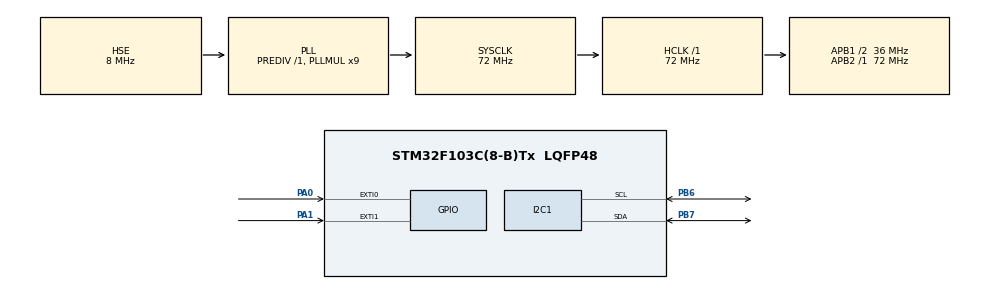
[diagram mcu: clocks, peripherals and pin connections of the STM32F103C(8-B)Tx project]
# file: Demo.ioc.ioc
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Mcu.Family=STM32F1
Mcu.Name=STM32F103C(8-B)Tx
Mcu.Package=LQFP48
NVIC.EXTI0_IRQn=true\:0\:0\:false\:false\:true\:true\:true\:true
NVIC.EXTI1_IRQn=true\:0\:0\:false\:false\:true\:true\:true\:true
NVIC.PriorityGroup=NVIC_PRIORITYGROUP_4
PA0-WKUP.GPIO_PuPd=GPIO_PULLUP
PA0-WKUP.Signal=GPXTI0
PA1.GPIO_PuPd=GPIO_PULLUP
PA1.Signal=GPXTI1
PA13.Mode=Serial_Wire
PA13.Signal=SYS_JTMS-SWDIO
PA14.Mode=Serial_Wire
PA14.Signal=SYS_JTCK-SWCLK
PB6.Mode=I2C
PB6.Signal=I2C1_SCL
PB7.Mode=I2C
PB7.Signal=I2C1_SDA
PD0-OSC_IN.Mode=HSE-External-Oscillator
PD0-OSC_IN.Signal=RCC_OSC_IN
PD1-OSC_OUT.Mode=HSE-External-Oscillator
PD1-OSC_OUT.Signal=RCC_OSC_OUT
ProjectManager.HeapSize=0x200
ProjectManager.StackSize=0x400
ProjectManager.TargetToolchain=MDK-ARM V5.32
RCC.AHBFreq_Value=72000000
RCC.APB1CLKDivider=RCC_HCLK_DIV2
RCC.APB1Freq_Value=36000000
RCC.APB1TimFreq_Value=72000000
RCC.APB2Freq_Value=72000000
RCC.APB2TimFreq_Value=72000000
RCC.HCLKFreq_Value=72000000
RCC.PLLMUL=RCC_PLL_MUL9
RCC.PLLSourceVirtual=RCC_PLLSOURCE_HSE
RCC.SYSCLKFreq_VALUE=72000000
RCC.SYSCLKSource=RCC_SYSCLKSOURCE_PLLCLK
RCC.USBFreq_Value=72000000
board=custom

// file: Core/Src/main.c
/* USER CODE BEGIN Header */
/**
  ******************************************************************************
  * @file           : main.c
  * @brief          : Main program body
  ******************************************************************************
  * @attention
  *
  * Copyright (c) 2025 STMicroelectronics.
  * All rights reserved.
  *
  * This software is licensed under terms that can be found in the LICENSE file
  * in the root directory of this software component.
  * If no LICENSE file comes with this software, it is provided AS-IS.
  *
  ******************************************************************************
  */
/* USER CODE END Header */
#include "main.h"

/* USER CODE BEGIN Includes */
#include "ssd1306.h"
#include "ssd1306_fonts.h"
#include <stdio.h> // 用于 sprintf
/* USER CODE END Includes */

I2C_HandleTypeDef hi2c1;

/* USER CODE BEGIN PV */
// 定义一个计数值，volatile关键字防止编译器优化
volatile int32_t counter = 0;
/* USER CODE END PV */

void SystemClock_Config(void);
static void MX_GPIO_Init(void);
static void MX_I2C1_Init(void);

int main(void)
{

  /* MCU Configuration--------------------------------------------------------*/

  /* Reset of all peripherals, Initializes the Flash interface and the Systick. */
  HAL_Init();

  /* Configure the system clock */
  SystemClock_Config();

  /* Initialize all configured peripherals */
  MX_GPIO_Init();
  MX_I2C1_Init();
  /* USER CODE BEGIN 2 */
	ssd1306_Init(); // 初始化OLED

	ssd1306_Fill(Black); // 清屏
	ssd1306_SetCursor(0, 0); // 设置光标位置
	ssd1306_WriteString("Encoder Test", Font_7x10, White);
	ssd1306_SetCursor(0, 20);
	ssd1306_WriteString("Value:", Font_11x18, White);
	ssd1306_UpdateScreen(); // 更新显示
	HAL_Delay(1000);
  /* USER CODE END 2 */

  /* Infinite loop */
  while (1)
  {
    /* USER CODE BEGIN 3 */

    // 定义一个缓冲区来存储要显示的字符串
    char buffer[20];

    // 将整数 counter 转换为字符串
    sprintf(buffer, "%ld", counter); // %ld 用于 long int

    // 在显示之前，先用黑色矩形覆盖旧数值区域，防止数字重叠
    ssd1306_FillRectangle(60, 20, 127, 38, Black);

    // 设置光标位置并显示新数值
    ssd1306_SetCursor(60, 20);
    ssd1306_WriteString(buffer, Font_11x18, White);

    // 将缓冲区内容更新到屏幕上
    ssd1306_UpdateScreen();

    // 短暂延时，降低CPU占用率，也避免刷新过快
    HAL_Delay(50);
  }
  /* USER CODE END 3 */
}

void SystemClock_Config(void)
{
  RCC_OscInitTypeDef RCC_OscInitStruct = {0};
  RCC_ClkInitTypeDef RCC_ClkInitStruct = {0};

  /** Initializes the RCC Oscillators according to the specified parameters
  * in the RCC_OscInitTypeDef structure.
  */
  RCC_OscInitStruct.OscillatorType = RCC_OSCILLATORTYPE_HSE;
  RCC_OscInitStruct.HSEState = RCC_HSE_ON;
  RCC_OscInitStruct.HSEPredivValue = RCC_HSE_PREDIV_DIV1;
  RCC_OscInitStruct.HSIState = RCC_HSI_ON;
  RCC_OscInitStruct.PLL.PLLState = RCC_PLL_ON;
  RCC_OscInitStruct.PLL.PLLSource = RCC_PLLSOURCE_HSE;
  RCC_OscInitStruct.PLL.PLLMUL = RCC_PLL_MUL9;
  if (HAL_RCC_OscConfig(&RCC_OscInitStruct) != HAL_OK)
  {
    Error_Handler();
  }

  /** Initializes the CPU, AHB and APB buses clocks
  */
  RCC_ClkInitStruct.ClockType = RCC_CLOCKTYPE_HCLK|RCC_CLOCKTYPE_SYSCLK
                              |RCC_CLOCKTYPE_PCLK1|RCC_CLOCKTYPE_PCLK2;
  RCC_ClkInitStruct.SYSCLKSource = RCC_SYSCLKSOURCE_PLLCLK;
  RCC_ClkInitStruct.AHBCLKDivider = RCC_SYSCLK_DIV1;
  RCC_ClkInitStruct.APB1CLKDivider = RCC_HCLK_DIV2;
  RCC_ClkInitStruct.APB2CLKDivider = RCC_HCLK_DIV1;

  if (HAL_RCC_ClockConfig(&RCC_ClkInitStruct, FLASH_LATENCY_2) != HAL_OK)
  {
    Error_Handler();
  }
}

static void MX_I2C1_Init(void)
{

  hi2c1.Instance = I2C1;
  hi2c1.Init.ClockSpeed = 100000;
  hi2c1.Init.DutyCycle = I2C_DUTYCYCLE_2;
  hi2c1.Init.OwnAddress1 = 0;
  hi2c1.Init.AddressingMode = I2C_ADDRESSINGMODE_7BIT;
  hi2c1.Init.DualAddressMode = I2C_DUALADDRESS_DISABLE;
  hi2c1.Init.OwnAddress2 = 0;
  hi2c1.Init.GeneralCallMode = I2C_GENERALCALL_DISABLE;
  hi2c1.Init.NoStretchMode = I2C_NOSTRETCH_DISABLE;
  if (HAL_I2C_Init(&hi2c1) != HAL_OK)
  {
    Error_Handler();
  }

}

static void MX_GPIO_Init(void)
{
  GPIO_InitTypeDef GPIO_InitStruct = {0};

  /* GPIO Ports Clock Enable */
  __HAL_RCC_GPIOD_CLK_ENABLE();
  __HAL_RCC_GPIOA_CLK_ENABLE();
  __HAL_RCC_GPIOB_CLK_ENABLE();

  /*Configure GPIO pins : PA0 PA1 */
  GPIO_InitStruct.Pin = GPIO_PIN_0|GPIO_PIN_1;
  GPIO_InitStruct.Mode = GPIO_MODE_IT_RISING;
  GPIO_InitStruct.Pull = GPIO_PULLUP;
  HAL_GPIO_Init(GPIOA, &GPIO_InitStruct);

  /* EXTI interrupt init*/
  HAL_NVIC_SetPriority(EXTI0_IRQn, 0, 0);
  HAL_NVIC_EnableIRQ(EXTI0_IRQn);

  HAL_NVIC_SetPriority(EXTI1_IRQn, 0, 0);
  HAL_NVIC_EnableIRQ(EXTI1_IRQn);

}

/* USER CODE BEGIN 4 */
void HAL_GPIO_EXTI_Callback(uint16_t GPIO_Pin)
{
    // 我们只处理PA0的中断，在PA0的上升沿检测PA1的电平
    if (GPIO_Pin == GPIO_PIN_0)
    {
        // 如果CLK(PA0)为高电平时，DT(PA1)为低电平，则为顺时针
        if (HAL_GPIO_ReadPin(GPIOA, GPIO_PIN_1) == GPIO_PIN_RESET)
        {
            counter++;
        }
        else // 否则为逆时针
        {
            counter--;
        }
    }
}
/* USER CODE END 4 */

void Error_Handler(void)
{
  __disable_irq();
  while (1)
  {
  }
}
